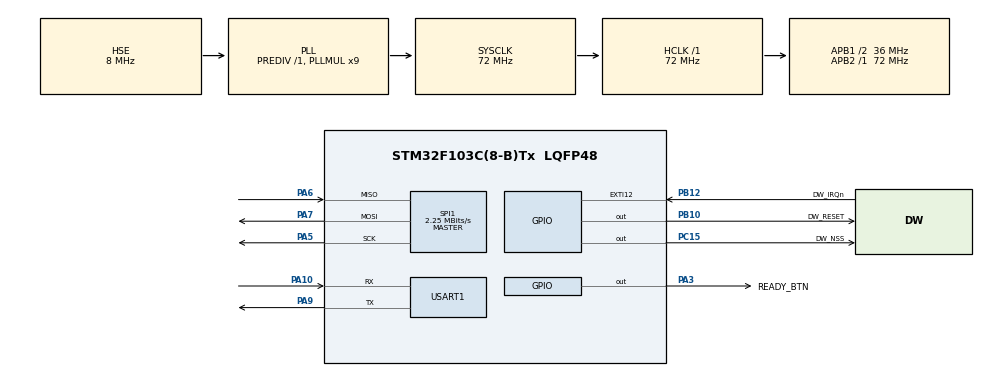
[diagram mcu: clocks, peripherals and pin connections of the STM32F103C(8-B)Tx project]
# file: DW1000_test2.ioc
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Mcu.Family=STM32F1
Mcu.Name=STM32F103C(8-B)Tx
Mcu.Package=LQFP48
NVIC.PriorityGroup=NVIC_PRIORITYGROUP_4
PA10.Mode=Asynchronous
PA10.Signal=USART1_RX
PA13.Mode=Serial_Wire
PA13.Signal=SYS_JTMS-SWDIO
PA14.Mode=Serial_Wire
PA14.Signal=SYS_JTCK-SWCLK
PA3.GPIO_Label=READY_BTN
PA3.Signal=GPIO_Output
PA5.Mode=Full_Duplex_Master
PA5.Signal=SPI1_SCK
PA6.Mode=Full_Duplex_Master
PA6.Signal=SPI1_MISO
PA7.Mode=Full_Duplex_Master
PA7.Signal=SPI1_MOSI
PA9.Mode=Asynchronous
PA9.Signal=USART1_TX
PB10.GPIO_Label=DW_RESET
PB10.Signal=GPIO_Output
PB12.GPIO_Label=DW_IRQn
PB12.Signal=GPXTI12
PC15-OSC32_OUT.GPIO_Label=DW_NSS
PC15-OSC32_OUT.Signal=GPIO_Output
PD0-OSC_IN.Mode=HSE-External-Oscillator
PD0-OSC_IN.Signal=RCC_OSC_IN
PD1-OSC_OUT.Mode=HSE-External-Oscillator
PD1-OSC_OUT.Signal=RCC_OSC_OUT
ProjectManager.HeapSize=0x200
ProjectManager.StackSize=0x400
ProjectManager.TargetToolchain=STM32CubeIDE
RCC.AHBFreq_Value=72000000
RCC.APB1CLKDivider=RCC_HCLK_DIV2
RCC.APB1Freq_Value=36000000
RCC.APB1TimFreq_Value=72000000
RCC.APB2Freq_Value=72000000
RCC.APB2TimFreq_Value=72000000
RCC.HCLKFreq_Value=72000000
RCC.PLLMUL=RCC_PLL_MUL9
RCC.PLLSourceVirtual=RCC_PLLSOURCE_HSE
RCC.SYSCLKFreq_VALUE=72000000
RCC.SYSCLKSource=RCC_SYSCLKSOURCE_PLLCLK
RCC.USBFreq_Value=72000000
SPI1.BaudRatePrescaler=SPI_BAUDRATEPRESCALER_32
SPI1.CalculateBaudRate=2.25 MBits/s
SPI1.Direction=SPI_DIRECTION_2LINES
SPI1.Mode=SPI_MODE_MASTER
SPI1.VirtualType=VM_MASTER
USART1.VirtualMode=VM_ASYNC
board=custom

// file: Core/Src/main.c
/* USER CODE BEGIN Header */
/**
  ******************************************************************************
  * @file           : main.c
  * @brief          : Main program body
  ******************************************************************************
  * @attention
  *
  * Copyright (c) 2022 STMicroelectronics.
  * All rights reserved.
  *
  * This software is licensed under terms that can be found in the LICENSE file
  * in the root directory of this software component.
  * If no LICENSE file comes with this software, it is provided AS-IS.
  *
  ******************************************************************************
  */
/* USER CODE END Header */
#include "main.h"

/* USER CODE BEGIN Includes */
#include "port.h"
app_t 	app;
/* USER CODE END Includes */

SPI_HandleTypeDef hspi1;

UART_HandleTypeDef huart1;

void SystemClock_Config(void);
static void MX_GPIO_Init(void);
static void MX_SPI1_Init(void);
static void MX_USART1_UART_Init(void);

/* USER CODE BEGIN 0 */
extern int dw_main(void);
/* USER CODE END 0 */

int main(void)
{

  /* MCU Configuration--------------------------------------------------------*/

  /* Reset of all peripherals, Initializes the Flash interface and the Systick. */
  HAL_Init();

  /* Configure the system clock */
  SystemClock_Config();

  /* Initialize all configured peripherals */
  MX_GPIO_Init();
  MX_SPI1_Init();
  MX_USART1_UART_Init();
  /* USER CODE BEGIN 2 */

  uint8_t Test[] = "Initial setup success !!!\r\n"; //Data to send
  HAL_UART_Transmit(&huart1,Test,sizeof(Test),10);// Sending in normal mode
  HAL_Delay(5000);

  uint8_t Test11[] = "0 - Waiting for button !!!\r\n"; //Data to send;
  uint8_t Test12[] = "1 - Waiting for button !!!\r\n"; //Data to send;

  while (1)
  {
	  if ( HAL_GPIO_ReadPin(READY_BTN_GPIO_Port, READY_BTN_Pin) == 0){
		  HAL_UART_Transmit(&huart1,Test11,sizeof(Test11),10);// Sending in normal mode

	  }
	  else {
		  HAL_UART_Transmit(&huart1,Test12,sizeof(Test12),10);// Sending in normal mode
		  break;
	  }

	  HAL_Delay(5000);
  }

  uint8_t Test2[] = "button ready success !!!\r\n"; //Data to send
  HAL_UART_Transmit(&huart1,Test2,sizeof(Test2),10);// Sending in normal mode
  HAL_Delay(5000);
  /*
   * DW_RESET_Pin has been configured by CubeMx as Exti0 line
   * Reconfigure the line as Input
   */
  setup_DW1000RSTnIRQ(0);

  stdio_init(&huart1);

  uint8_t Test3[] = "going to start dw_main !!!\r\n"; //Data to send
  HAL_UART_Transmit(&huart1,Test3,sizeof(Test3),10);// Sending in normal mode
  HAL_Delay(5000);

  dw_main();
  /* USER CODE END 2 */

  /* Infinite loop */
  while (1)
  {

  }
}

void SystemClock_Config(void)
{
  RCC_OscInitTypeDef RCC_OscInitStruct = {0};
  RCC_ClkInitTypeDef RCC_ClkInitStruct = {0};

  /** Initializes the RCC Oscillators according to the specified parameters
  * in the RCC_OscInitTypeDef structure.
  */
  RCC_OscInitStruct.OscillatorType = RCC_OSCILLATORTYPE_HSE;
  RCC_OscInitStruct.HSEState = RCC_HSE_ON;
  RCC_OscInitStruct.HSEPredivValue = RCC_HSE_PREDIV_DIV1;
  RCC_OscInitStruct.HSIState = RCC_HSI_ON;
  RCC_OscInitStruct.PLL.PLLState = RCC_PLL_ON;
  RCC_OscInitStruct.PLL.PLLSource = RCC_PLLSOURCE_HSE;
  RCC_OscInitStruct.PLL.PLLMUL = RCC_PLL_MUL9;
  if (HAL_RCC_OscConfig(&RCC_OscInitStruct) != HAL_OK)
  {
    Error_Handler();
  }
  /** Initializes the CPU, AHB and APB buses clocks
  */
  RCC_ClkInitStruct.ClockType = RCC_CLOCKTYPE_HCLK|RCC_CLOCKTYPE_SYSCLK
                              |RCC_CLOCKTYPE_PCLK1|RCC_CLOCKTYPE_PCLK2;
  RCC_ClkInitStruct.SYSCLKSource = RCC_SYSCLKSOURCE_PLLCLK;
  RCC_ClkInitStruct.AHBCLKDivider = RCC_SYSCLK_DIV1;
  RCC_ClkInitStruct.APB1CLKDivider = RCC_HCLK_DIV2;
  RCC_ClkInitStruct.APB2CLKDivider = RCC_HCLK_DIV1;

  if (HAL_RCC_ClockConfig(&RCC_ClkInitStruct, FLASH_LATENCY_2) != HAL_OK)
  {
    Error_Handler();
  }
}

static void MX_SPI1_Init(void)
{

  /* SPI1 parameter configuration*/
  hspi1.Instance = SPI1;
  hspi1.Init.Mode = SPI_MODE_MASTER;
  hspi1.Init.Direction = SPI_DIRECTION_2LINES;
  hspi1.Init.DataSize = SPI_DATASIZE_8BIT;
  hspi1.Init.CLKPolarity = SPI_POLARITY_LOW;
  hspi1.Init.CLKPhase = SPI_PHASE_1EDGE;
  hspi1.Init.NSS = SPI_NSS_SOFT;
  hspi1.Init.BaudRatePrescaler = SPI_BAUDRATEPRESCALER_32;
  hspi1.Init.FirstBit = SPI_FIRSTBIT_MSB;
  hspi1.Init.TIMode = SPI_TIMODE_DISABLE;
  hspi1.Init.CRCCalculation = SPI_CRCCALCULATION_DISABLE;
  hspi1.Init.CRCPolynomial = 10;
  if (HAL_SPI_Init(&hspi1) != HAL_OK)
  {
    Error_Handler();
  }

}

static void MX_USART1_UART_Init(void)
{

  huart1.Instance = USART1;
  huart1.Init.BaudRate = 115200;
  huart1.Init.WordLength = UART_WORDLENGTH_8B;
  huart1.Init.StopBits = UART_STOPBITS_1;
  huart1.Init.Parity = UART_PARITY_NONE;
  huart1.Init.Mode = UART_MODE_TX_RX;
  huart1.Init.HwFlowCtl = UART_HWCONTROL_NONE;
  huart1.Init.OverSampling = UART_OVERSAMPLING_16;
  if (HAL_UART_Init(&huart1) != HAL_OK)
  {
    Error_Handler();
  }

}

static void MX_GPIO_Init(void)
{
  GPIO_InitTypeDef GPIO_InitStruct = {0};

  /* GPIO Ports Clock Enable */
  __HAL_RCC_GPIOC_CLK_ENABLE();
  __HAL_RCC_GPIOD_CLK_ENABLE();
  __HAL_RCC_GPIOA_CLK_ENABLE();
  __HAL_RCC_GPIOB_CLK_ENABLE();

  /*Configure GPIO pin Output Level */
  HAL_GPIO_WritePin(DW_NSS_GPIO_Port, DW_NSS_Pin, GPIO_PIN_RESET);

  /*Configure GPIO pin Output Level */
  HAL_GPIO_WritePin(READY_BTN_GPIO_Port, READY_BTN_Pin, GPIO_PIN_RESET);

  /*Configure GPIO pin Output Level */
  HAL_GPIO_WritePin(DW_RESET_GPIO_Port, DW_RESET_Pin, GPIO_PIN_RESET);

  /*Configure GPIO pin : DW_NSS_Pin */
  GPIO_InitStruct.Pin = DW_NSS_Pin;
  GPIO_InitStruct.Mode = GPIO_MODE_OUTPUT_PP;
  GPIO_InitStruct.Pull = GPIO_NOPULL;
  GPIO_InitStruct.Speed = GPIO_SPEED_FREQ_LOW;
  HAL_GPIO_Init(DW_NSS_GPIO_Port, &GPIO_InitStruct);

  /*Configure GPIO pin : READY_BTN_Pin */
  GPIO_InitStruct.Pin = READY_BTN_Pin;
  GPIO_InitStruct.Mode = GPIO_MODE_OUTPUT_PP;
  GPIO_InitStruct.Pull = GPIO_NOPULL;
  GPIO_InitStruct.Speed = GPIO_SPEED_FREQ_LOW;
  HAL_GPIO_Init(READY_BTN_GPIO_Port, &GPIO_InitStruct);

  /*Configure GPIO pin : DW_RESET_Pin */
  GPIO_InitStruct.Pin = DW_RESET_Pin;
  GPIO_InitStruct.Mode = GPIO_MODE_OUTPUT_PP;
  GPIO_InitStruct.Pull = GPIO_NOPULL;
  GPIO_InitStruct.Speed = GPIO_SPEED_FREQ_LOW;
  HAL_GPIO_Init(DW_RESET_GPIO_Port, &GPIO_InitStruct);

  /*Configure GPIO pin : DW_IRQn_Pin */
  GPIO_InitStruct.Pin = DW_IRQn_Pin;
  GPIO_InitStruct.Mode = GPIO_MODE_IT_RISING;
  GPIO_InitStruct.Pull = GPIO_NOPULL;
  HAL_GPIO_Init(DW_IRQn_GPIO_Port, &GPIO_InitStruct);

}

void Error_Handler(void)
{
  __disable_irq();
  while (1)
  {
  }
}
